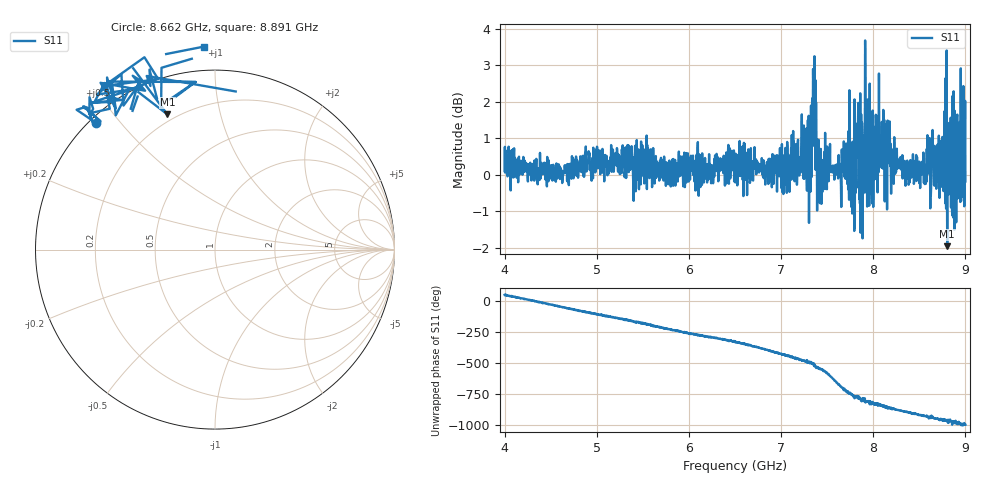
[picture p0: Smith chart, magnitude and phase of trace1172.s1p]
! Created with skrf 1.8.0 (http://scikit-rf.org).
# Hz S RI R 50.0
!freq ReS11 ImS11
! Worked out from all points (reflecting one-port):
!   1601 points, 4 GHz to 9 GHz, reference 50 ohm
!   lowest |S11| = -1.9 dB at 8.803 GHz (marker M1), VSWR 8.95, Z = 8.33 + j34.7 ohm
!   phase of S11 starts at 52 deg and turns -1050 deg over the sweep
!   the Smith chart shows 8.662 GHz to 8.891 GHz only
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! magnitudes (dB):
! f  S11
! 4 GHz  0.1
! 4.625 GHz  -0.2
! 5.016 GHz  0.7
! 5.25 GHz  0.0
! 5.875 GHz  0.2
! 6.5 GHz  0.5
! 7.038 GHz  0.1
! 7.125 GHz  0.9
! 7.306 GHz  1.0
! 7.359 GHz  2.3
! 7.412 GHz  -0.3
! 7.434 GHz  -0.3
! 7.512 GHz  0.6
! 7.75 GHz  0.2
! 7.784 GHz  -0.2
! 7.822 GHz  0.8
! 7.875 GHz  0.5
! 7.891 GHz  0.6
! 7.909 GHz  1.0
! 7.928 GHz  1.9
! 7.981 GHz  -0.5
! 8.053 GHz  1.0
! 8.128 GHz  0.7
! 8.375 GHz  0.2
! 8.803 GHz  -1.9
! 8.875 GHz  0.6
! 8.959 GHz  2.4
! 9 GHz  -0.2
